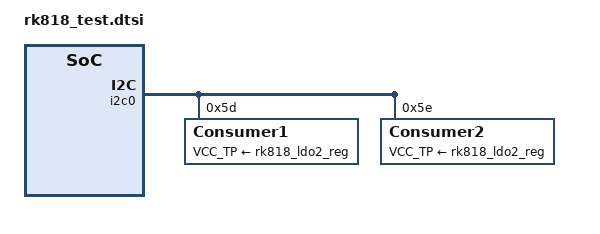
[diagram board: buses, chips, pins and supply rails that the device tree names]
&i2c0 {
	consumer1@5d {
		compatible = "Consumer1";
		status = "okay";
		reg = <0x5d>;
		VCC_TP-supply = <&rk818_ldo2_reg>;
	};

	consumer2@5e {
		compatible = "Consumer2";
		status = "okay";
		reg = <0x5e>;
		VCC_TP-supply = <&rk818_ldo2_reg>;
	};
};
